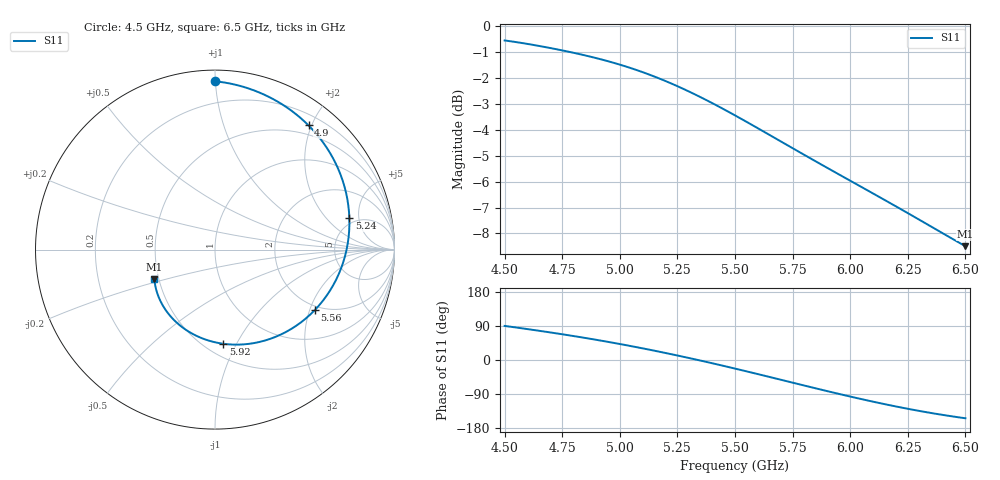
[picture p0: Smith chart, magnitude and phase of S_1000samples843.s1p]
! TOUCHSTONE file generated by CST MICROWAVE STUDIO
! Date and time: Sat Oct 29 14:01:57 2022
! Project name: L.cst
! Parameters = {Di=1.27; Epsilon_r=1.56; InnerDiameter=1.27; Length=2; Lf=10; Lg=60; OuterConductorThickness=0.2921; OuterDiameter=3.6; Wf=3; Wp=41.2; de=1.5; df=6.8; g=0.8; gx=4.33888; gy=3.27107; h=2.34; hf=1.524; px=13.8784; py=9.28145; w=9.7; wx=9.53947; wy=6.01038}
! Header version: 2018
! Port assignment regex: !\s*Touchstone port\s*([0-9]+)\s*=\s*(CST MWS port|CST DS port)\s*([0-9]+|Zmin|Zmax)\s*\(\"(.*)\"\)(\s*mode\s*([0-9]+))?.*
! Touchstone port assignment:
! Touchstone port 1 = CST MWS port 1 ("")
# GHz S DB R 50
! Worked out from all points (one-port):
!   101 points, 4.5 GHz to 6.5 GHz, reference 50 ohm
!   lowest |S11| = -8.5 dB at 6.5 GHz (marker M1), VSWR 2.21, Z = 23.6 - j9.16 ohm
!   |S11| at or under -10 dB: nowhere
!   S11 on the Smith chart (normalised r, x): 4.5 GHz: 0.06, +1.00; 4.9 GHz: 0.35, +1.95; 5.24 GHz: 4.36, +3.73; 5.56 GHz: 1.85, -2.16; 5.92 GHz: 0.61, -0.89; 6.5 GHz: 0.47, -0.18
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4.5  -0.56 90.0
4.58  -0.67 83.2
4.64  -0.76 78.0
4.76  -0.96 67.0
4.84  -1.12 59.2
4.9  -1.25 53.0
5  -1.49 42.2
5.06  -1.66 35.3
5.12  -1.85 28.2
5.18  -2.06 20.8
5.24  -2.28 13.2
5.26  -2.36 10.6
5.32  -2.61 2.6
5.38  -2.88 -5.6
5.44  -3.16 -14.0
5.5  -3.45 -22.7
5.56  -3.75 -31.4
5.66  -4.25 -46.3
5.72  -4.56 -55.3
5.76  -4.76 -61.3
5.84  -5.17 -73.2
5.92  -5.57 -85.0
6  -5.97 -96.4
6.08  -6.36 -107.4
6.14  -6.66 -115.3
6.26  -7.27 -129.9
6.38  -7.88 -142.8
6.5  -8.49 -153.7
